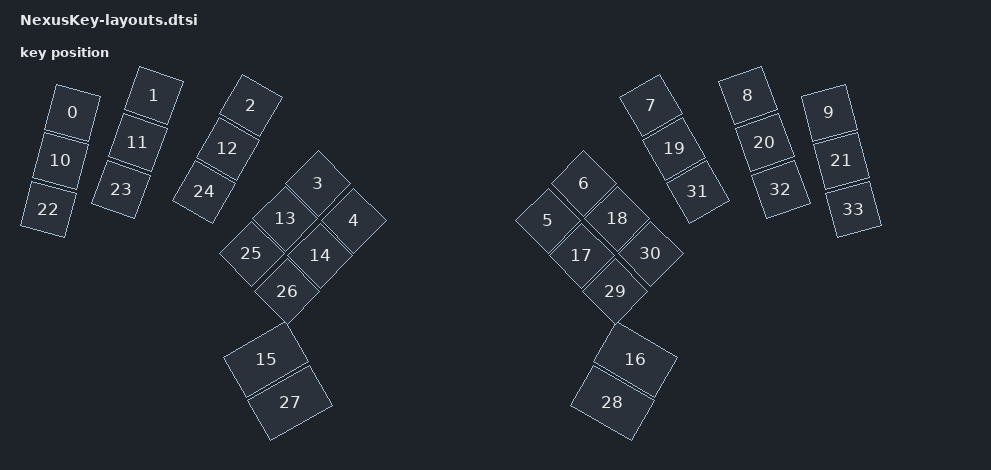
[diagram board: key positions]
#include <physical_layouts.dtsi>

// Physical Layout

/ {
    nexuskey_layout: nexuskey_layout {
        compatible = "zmk,physical-layout";
        display-name = "Default Layout";

        keys  //               w     h      x      y    rot      rx     ry
        = <&key_physical_attrs 100   100    60     49   1500    110     99>
        , <&key_physical_attrs 100   100   222     14   2000    272     64>
        , <&key_physical_attrs 100   100   417     34   3000    467     84>
        , <&key_physical_attrs 100   100   551    190   4500    601    240>
        , <&key_physical_attrs 100   100   622    265   4500    672    315>
        , <&key_physical_attrs 100   100  1011    265 (-4500)  1061    315>
        , <&key_physical_attrs 100   100  1082    190 (-4500)  1132    240>
        , <&key_physical_attrs 100   100  1216     34 (-3000)  1266     84>
        , <&key_physical_attrs 100   100  1411     14 (-2000)  1461     64>
        , <&key_physical_attrs 100   100  1573     49 (-1500)  1623     99>
        // Row 0
        , <&key_physical_attrs 100   100    36    145   1500     86    195>
        , <&key_physical_attrs 100   100   190    108   2000    240    158>
        , <&key_physical_attrs 100   100   370    121   3000    420    171>
        , <&key_physical_attrs 100   100   485    261   4500    535    311>
        , <&key_physical_attrs 100   100   555    335   4500    605    385>
        , <&key_physical_attrs 100   150   456    551   6000    531    601>
        , <&key_physical_attrs 100   150  1177    551 (-6000)  1202    601>
        , <&key_physical_attrs 100   100  1078    335 (-4500)  1128    385>
        , <&key_physical_attrs 100   100  1149    261 (-4500)  1199    311>
        , <&key_physical_attrs 100   100  1263    121 (-3000)  1313    171>
        , <&key_physical_attrs 100   100  1444    108 (-2000)  1494    158>
        , <&key_physical_attrs 100   100  1598    145 (-1500)  1648    195>
        // Row 1
        , <&key_physical_attrs 100   100    11    242   1500     61    292>
        , <&key_physical_attrs 100   100   157    202   2000    207    252>
        , <&key_physical_attrs 100   100   323    207   3000    373    257>
        , <&key_physical_attrs 100   100   418    331   4500    468    381>
        , <&key_physical_attrs 100   100   489    406   4500    539    456>
        , <&key_physical_attrs 100   150   504    638   6000    579    688>
        , <&key_physical_attrs 100   150  1130    638 (-6000)  1155    688>
        , <&key_physical_attrs 100   100  1145    406 (-4500)  1195    456>
        , <&key_physical_attrs 100   100  1216    331 (-4500)  1266    381>
        , <&key_physical_attrs 100   100  1310    207 (-3000)  1360    257>
        , <&key_physical_attrs 100   100  1476    202 (-2000)  1526    252>
        , <&key_physical_attrs 100   100  1622    242 (-1500)  1672    292> 
        // Row 2
        ;
    };
};

// Position Map

/ {
    nexuskey_position_map: nexuskey_position_map {
        compatible = "zmk,physical-layout-position-map";

        complete;

        default_map: default {
            physical-layout = <&nexuskey_layout>;
            positions
                = < 0  1  2  3  4        5  6  7  8  9>
                , <10 11 12 13 14 15 16 17 18 19 20 21>
                , <22 23 24 25 26 27 28 29 30 31 32 33>
                ;
        };
    };
};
